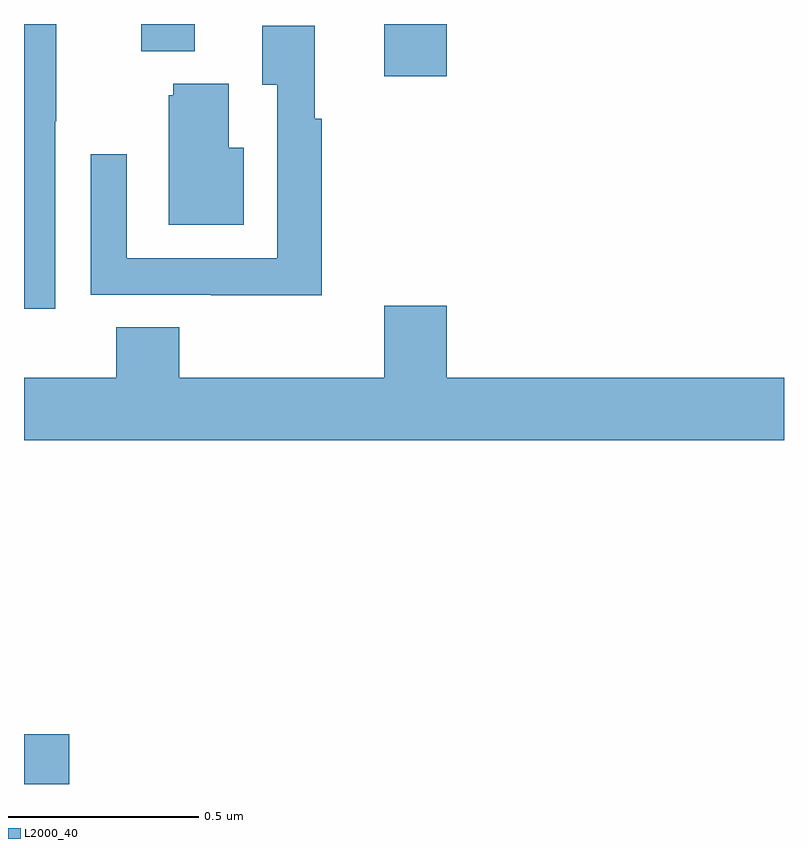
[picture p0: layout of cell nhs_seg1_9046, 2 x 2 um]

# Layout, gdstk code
import gdstk
lib = gdstk.Library(unit=1e-6, precision=1e-09)
def R(c, l, rs):  # rectangles x0, y0, x1, y1
    for r in rs: c.add(gdstk.rectangle(r[:2], r[2:], *l))
def P(c, l, *ps):  # polygons
    for p in ps: c.add(gdstk.Polygon(p, *l))
L2000_40 = (2000, 40)

nhs_seg1_9046 = lib.new_cell('nhs_seg1_9046')
R(nhs_seg1_9046, L2000_40, [(224,512.199,224.119,512.33), (224.948,514.062,225.112,514.199), (224.309,514.127,224.449,514.199)])
P(nhs_seg1_9046, L2000_40, [(224.082,513.943),(224.085,513.943),(224.085,514.199),(224,514.199),(224,513.45),(224.082,513.45)],
  [(224.783,513.95),(224.765,513.95),(224.765,514.195),(224.627,514.195),(224.627,514.039),(224.667,514.039),(224.667,513.582),(224.271,513.582),(224.271,513.856),(224.175,513.856),(224.175,513.486),(224.491,513.486),(224.491,513.485),(224.783,513.485)],
  [(224.578,513.874),(224.539,513.874),(224.539,514.042),(224.393,514.042),(224.393,514.011),(224.381,514.011),(224.381,513.671),(224.578,513.671)],
  [(226,513.268),(225.112,513.268),(225.112,513.457),(224.948,513.457),(224.948,513.268),(224.408,513.268),(224.408,513.401),(224.243,513.401),(224.243,513.268),(224,513.268),(224,513.104),(226,513.104)])

lib.write_gds('nhs_seg1_9046.gds')
